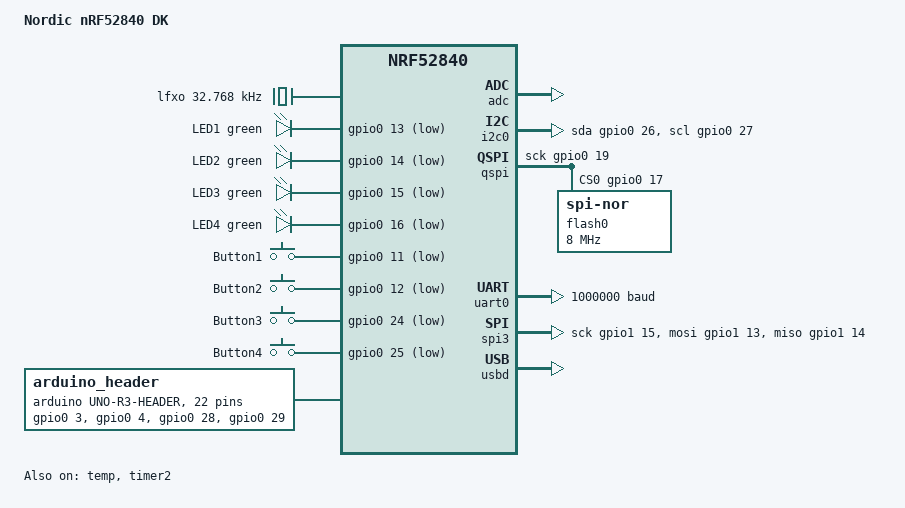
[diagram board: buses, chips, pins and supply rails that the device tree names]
// SPDX-FileCopyrightText: 2026 Core Devices LLC
// SPDX-License-Identifier: (GPL-2.0-only OR BSD-2-Clause)

/dts-v1/;

#include "nordic/nrf52840-qiaa.dtsi"

#include <dt-bindings/connector/arduino,uno-r3-header.h>
#include <dt-bindings/gpio/gpio.h>
#include <dt-bindings/iio/adc/nordic,nrf52832-saadc.h>
#include <dt-bindings/input/input.h>
#include <dt-bindings/leds/common.h>

/ {
	model = "Nordic nRF52840 DK";
	compatible = "nordic,nrf52840-dk", "nordic,nrf52840";

	lfxo: clock-32768 {
		compatible = "fixed-clock";
		#clock-cells = <0>;
		clock-frequency = <32768>;
	};

	leds {
		compatible = "gpio-leds";

		led1: led-1 {
			label = "LED1";
			color = <LED_COLOR_ID_GREEN>;
			gpios = <&gpio0 13 GPIO_ACTIVE_LOW>;
		};

		led2: led-2 {
			label = "LED2";
			color = <LED_COLOR_ID_GREEN>;
			gpios = <&gpio0 14 GPIO_ACTIVE_LOW>;
		};

		led3: led-3 {
			label = "LED3";
			color = <LED_COLOR_ID_GREEN>;
			gpios = <&gpio0 15 GPIO_ACTIVE_LOW>;
		};

		led4: led-4 {
			label = "LED4";
			color = <LED_COLOR_ID_GREEN>;
			gpios = <&gpio0 16 GPIO_ACTIVE_LOW>;
		};
	};

	// Buttons 1 to 4, as the four buttons of a watch
	buttons: gpio-keys {
		compatible = "gpio-keys";

		button-1 {
			label = "Button1";
			gpios = <&gpio0 11 (GPIO_ACTIVE_LOW | GPIO_PULL_UP)>;
			linux,code = <KEY_1>;
			debounce-interval = <40>;
			wakeup-source;
		};

		button-2 {
			label = "Button2";
			gpios = <&gpio0 12 (GPIO_ACTIVE_LOW | GPIO_PULL_UP)>;
			linux,code = <KEY_2>;
			debounce-interval = <40>;
		};

		button-3 {
			label = "Button3";
			gpios = <&gpio0 24 (GPIO_ACTIVE_LOW | GPIO_PULL_UP)>;
			linux,code = <KEY_3>;
			debounce-interval = <40>;
		};

		button-4 {
			label = "Button4";
			gpios = <&gpio0 25 (GPIO_ACTIVE_LOW | GPIO_PULL_UP)>;
			linux,code = <KEY_4>;
			debounce-interval = <40>;
		};
	};

	arduino_header: arduino-header {
		compatible = "arduino,uno-r3-header";
		#gpio-cells = <2>;
		gpio-map-mask = <0xffffffff 0x0>;
		gpio-map-pass-thru = <0x0 0xffffffff>;
		gpio-map = <ARDUINO_UNO_R3_A0 0 &gpio0 3 0>,
			   <ARDUINO_UNO_R3_A1 0 &gpio0 4 0>,
			   <ARDUINO_UNO_R3_A2 0 &gpio0 28 0>,
			   <ARDUINO_UNO_R3_A3 0 &gpio0 29 0>,
			   <ARDUINO_UNO_R3_A4 0 &gpio0 30 0>,
			   <ARDUINO_UNO_R3_A5 0 &gpio0 31 0>,
			   <ARDUINO_UNO_R3_D0 0 &gpio1 1 0>,
			   <ARDUINO_UNO_R3_D1 0 &gpio1 2 0>,
			   <ARDUINO_UNO_R3_D2 0 &gpio1 3 0>,
			   <ARDUINO_UNO_R3_D3 0 &gpio1 4 0>,
			   <ARDUINO_UNO_R3_D4 0 &gpio1 5 0>,
			   <ARDUINO_UNO_R3_D5 0 &gpio1 6 0>,
			   <ARDUINO_UNO_R3_D6 0 &gpio1 7 0>,
			   <ARDUINO_UNO_R3_D7 0 &gpio1 8 0>,
			   <ARDUINO_UNO_R3_D8 0 &gpio1 10 0>,
			   <ARDUINO_UNO_R3_D9 0 &gpio1 11 0>,
			   <ARDUINO_UNO_R3_D10 0 &gpio1 12 0>,
			   <ARDUINO_UNO_R3_D11 0 &gpio1 13 0>,
			   <ARDUINO_UNO_R3_D12 0 &gpio1 14 0>,
			   <ARDUINO_UNO_R3_D13 0 &gpio1 15 0>,
			   <ARDUINO_UNO_R3_D14 0 &gpio0 26 0>,
			   <ARDUINO_UNO_R3_D15 0 &gpio0 27 0>;
		io-channels = <&adc NRF52_SAADC_AIN1>, <&adc NRF52_SAADC_AIN2>,
			      <&adc NRF52_SAADC_AIN4>, <&adc NRF52_SAADC_AIN5>,
			      <&adc NRF52_SAADC_AIN6>, <&adc NRF52_SAADC_AIN7>;
		io-channel-names = "a0", "a1", "a2", "a3", "a4", "a5";
	};
};

&adc {
	status = "okay";
};

&clock {
	clocks = <&hfxo>, <&lfxo>;
	clock-names = "hfxo", "lfxo";
};

arduino_i2c: &i2c0 {
	scl-gpios = <&gpio0 27 GPIO_PULL_UP>;
	sda-gpios = <&gpio0 26 GPIO_PULL_UP>;
};

&internal_flash {
	partitions {
		compatible = "fixed-partitions";
		#address-cells = <1>;
		#size-cells = <1>;

		partition@0 {
			label = "code";
			reg = <0x0 0x100000>;
		};
	};
};

&qspi {
	sck-gpios = <&gpio0 19 GPIO_ACTIVE_HIGH>;
	cs-gpios = <&gpio0 17 GPIO_ACTIVE_HIGH>;
	io-gpios = <&gpio0 20 GPIO_ACTIVE_HIGH>, <&gpio0 21 GPIO_ACTIVE_HIGH>, <&gpio0 22 GPIO_ACTIVE_HIGH>, <&gpio0 23 GPIO_ACTIVE_HIGH>;
	status = "okay";

	flash0: flash@0 {
		compatible = "jedec,spi-nor";
		reg = <0>;
		spi-max-frequency = <8000000>;
		spi-rx-bus-width = <4>;
		spi-tx-bus-width = <4>;
	};
};

// The interface MCU's virtual COM port
&uart0 {
	current-speed = <1000000>;
	tx-gpios = <&gpio0 6 GPIO_ACTIVE_HIGH>;
	rx-gpios = <&gpio0 8 GPIO_ACTIVE_HIGH>;
	nordic,timer = <&timer2>;
	status = "okay";
};

arduino_serial: &uart1 {
	tx-gpios = <&gpio1 2 GPIO_ACTIVE_HIGH>;
	rx-gpios = <&gpio1 1 GPIO_ACTIVE_HIGH>;
	nordic,timer = <&timer3>;
};

arduino_spi: &spi3 {
	sck-gpios = <&gpio1 15 GPIO_ACTIVE_HIGH>;
	mosi-gpios = <&gpio1 13 GPIO_ACTIVE_HIGH>;
	miso-gpios = <&gpio1 14 GPIO_ACTIVE_HIGH>;
	cs-gpios = <&gpio1 12 GPIO_ACTIVE_LOW>;
};

&usbd {
	status = "okay";
};

&temp {
	status = "okay";
};

&timer2 {
	status = "okay";
};
